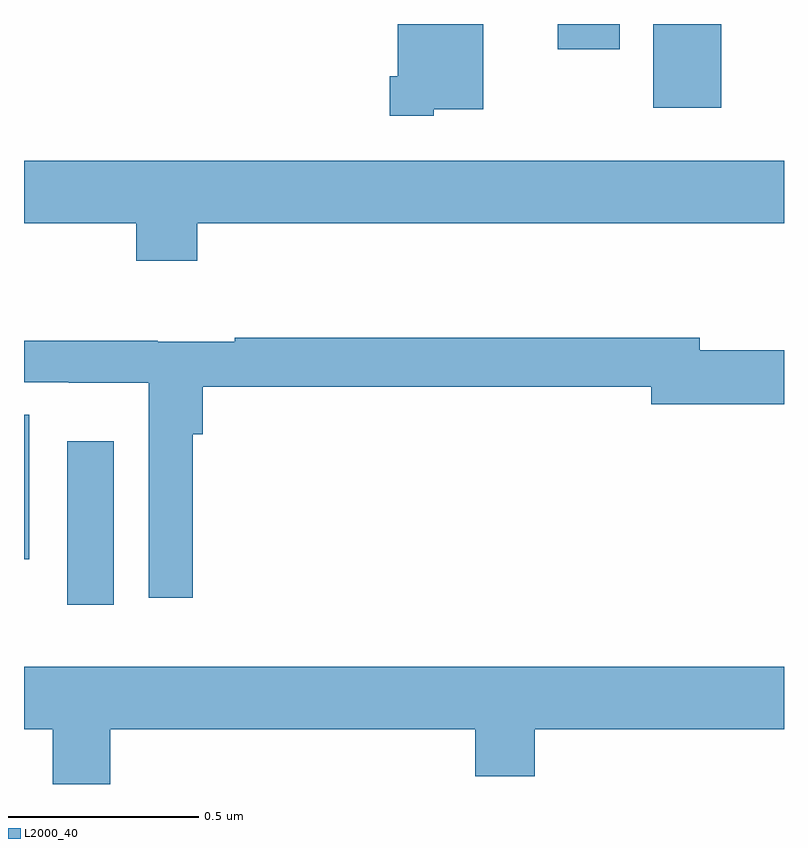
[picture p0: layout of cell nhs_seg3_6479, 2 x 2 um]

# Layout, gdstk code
import gdstk
lib = gdstk.Library(unit=1e-6, precision=1e-09)
def R(c, l, rs):  # rectangles x0, y0, x1, y1
    for r in rs: c.add(gdstk.rectangle(r[:2], r[2:], *l))
def P(c, l, *ps):  # polygons
    for p in ps: c.add(gdstk.Polygon(p, *l))
L2000_40 = (2000, 40)

nhs_seg3_6479 = lib.new_cell('nhs_seg3_6479')
R(nhs_seg3_6479, L2000_40, [(191.114,739.872,191.236,740.302), (191,739.992,191.014,740.372), (192.656,741.179,192.835,741.4), (192.404,741.333,192.568,741.4)])
P(nhs_seg3_6479, L2000_40, [(192.078,741.176),(192.208,741.176),(192.208,741.4),(191.984,741.4),(191.984,741.262),(191.963,741.262),(191.963,741.158),(192.078,741.158)],
  [(191.456,740.876),(193,740.876),(193,741.04),(191,741.04),(191,740.876),(191.296,740.876),(191.296,740.777),(191.456,740.777)],
  [(191.444,740.321),(191.471,740.321),(191.471,740.446),(192.65,740.446),(192.65,740.399),(193,740.399),(193,740.541),(192.778,740.541),(192.778,740.575),(191.554,740.575),(191.554,740.564),(191.352,740.564),(191.352,740.566),(191,740.566),(191,740.457),(191.118,740.457),(191.118,740.456),(191.328,740.456),(191.328,739.89),(191.444,739.89)],
  [(191.227,739.544),(192.187,739.544),(192.187,739.42),(192.344,739.42),(192.344,739.544),(193,739.544),(193,739.708),(191,739.708),(191,739.544),(191.075,739.544),(191.075,739.4),(191.227,739.4)])

lib.write_gds('nhs_seg3_6479.gds')
